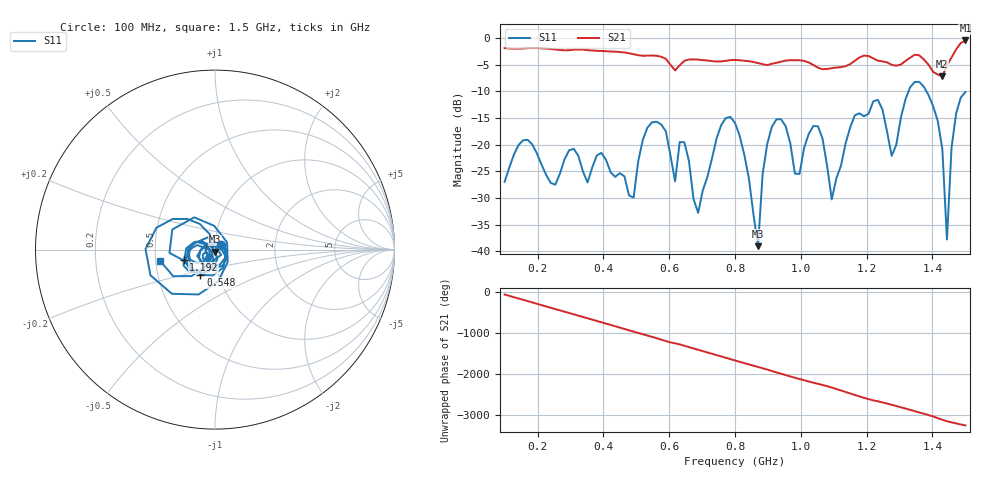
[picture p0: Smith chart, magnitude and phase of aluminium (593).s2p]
! NanoVNA-App
! Date: 2025-09-25 14:59:53
! Start: 100MHz Stop: 1,5GHz Points: 101
! S-Parameter data: F S11 S21 S12 S22
# Hz S RI R 50
!  Frequency  S11_Real  S11_Imag  S21_Real  S21_Imag  S12_Real  S12_Imag  S22_Real  S22_Imag
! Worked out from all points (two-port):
!   101 points, 100 MHz to 1.5 GHz, reference 50 ohm
!   highest |S21| = -0.48 dB at 1.5 GHz (marker M1); lowest = -7.2 dB at 1.43 GHz (marker M2)
!   |S21| within 3 dB of the highest: start of sweep to 571.6 MHz; 1.46 GHz to end of sweep (the widest 2 of 4)
!   lowest |S11| = -39.0 dB at 870 MHz (marker M3), VSWR 1.02, Z = 50.1 - j1.11 ohm
!   |S11| at or under -10 dB: start of sweep to 1.327 GHz; 1.382 GHz to end of sweep
!   S12 and S22 are empty: the file has one direction only
!   S11 on the Smith chart (normalised r, x): 100 MHz: 1.07, +0.06; 548 MHz: 0.82, -0.24; 1.192 GHz: 0.70, -0.08; 1.5 GHz: 0.53, -0.07
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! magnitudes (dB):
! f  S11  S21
! 100 MHz  -27.0  -1.9
! 156 MHz  -19.2  -2.0
! 338 MHz  -25.0  -2.2
! 492 MHz  -29.9  -3.1
! 548 MHz  -15.8  -3.3
! 576 MHz  -16.2  -3.5
! 618 MHz  -26.9  -6.1
! 646 MHz  -19.5  -4.3
! 688 MHz  -32.8  -4.1
! 800 MHz  -15.9  -4.1
! 870 MHz  -39.0  -4.7
! 912 MHz  -16.7  -4.8
! 996 MHz  -25.5  -4.2
! 1.038 GHz  -16.5  -5.1
! 1.094 GHz  -30.3  -5.7
! 1.192 GHz  -14.7  -3.3
! 1.276 GHz  -22.1  -5.0
! 1.346 GHz  -8.2  -3.2
! 1.43 GHz  -20.8  -7.2
! 1.444 GHz  -37.7  -5.1
! 1.458 GHz  -20.5  -3.7
! 1.5 GHz  -10.1  -0.5
